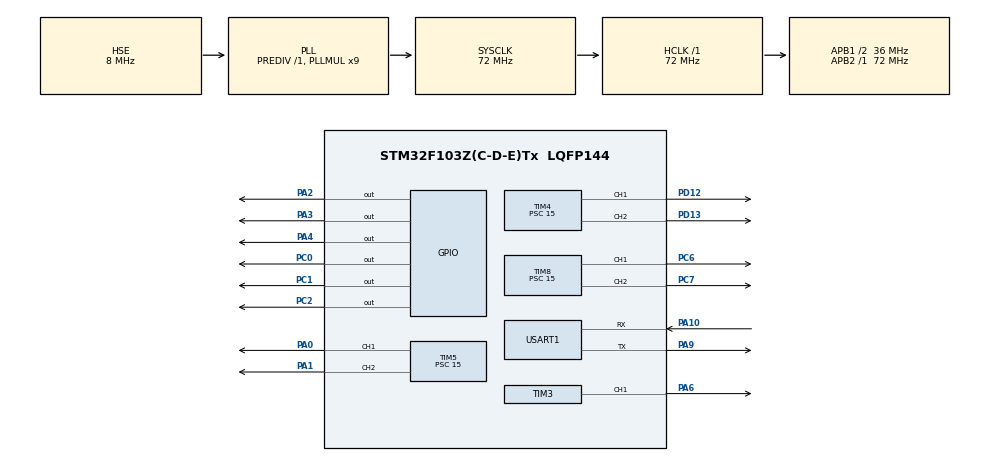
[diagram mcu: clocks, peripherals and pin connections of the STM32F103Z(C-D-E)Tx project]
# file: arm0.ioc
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Mcu.Family=STM32F1
VP_TIM5_VS_ClockSourceINT.Mode=Internal
SH.S_TIM5_CH2.0=TIM5_CH2,Output Compare2 CH2
PA6.GPIO_Label=steering\u2014\u2014gear
RCC.SYSCLKSource=RCC_SYSCLKSOURCE_PLLCLK
ProjectManager.StackSize=0x400
PD13.Signal=S_TIM4_CH2
NVIC.TIM5_IRQn=true\:0\:0\:false\:false\:true\:true\:true
RCC.HCLKFreq_Value=72000000
RCC.APB2TimFreq_Value=72000000
TIM3.Period=200
PC7.Signal=S_TIM8_CH2
OSC_OUT.Mode=HSE-External-Oscillator
OSC_OUT.Signal=RCC_OSC_OUT
RCC.AHBFreq_Value=72000000
TIM3.Channel-PWM\ Generation1\ CH1=TIM_CHANNEL_1
RCC.PLLMUL=RCC_PLL_MUL9
PA14.Mode=Serial_Wire
TIM5.Channel-Output\ Compare1\ CH1=TIM_CHANNEL_1
TIM3.Prescaler=7100
SH.S_TIM4_CH2.0=TIM4_CH2,Output Compare2 CH2
TIM4.Channel-Output\ Compare1\ CH1=TIM_CHANNEL_1
SH.S_TIM3_CH1.0=TIM3_CH1,PWM Generation1 CH1
Mcu.Package=LQFP144
PA6.Signal=S_TIM3_CH1
TIM8.OCMode_2=TIM_OCMODE_TOGGLE
TIM5.OCMode_2=TIM_OCMODE_TOGGLE
TIM5.OCMode_1=TIM_OCMODE_TOGGLE
PD12.Signal=S_TIM4_CH1
TIM8.OCMode_1=TIM_OCMODE_TOGGLE
PA10.Signal=USART1_RX
TIM4.Channel-Output\ Compare2\ CH2=TIM_CHANNEL_2
TIM8.Prescaler=15
SH.S_TIM4_CH1.0=TIM4_CH1,Output Compare1 CH1
RCC.APB1TimFreq_Value=72000000
SH.S_TIM5_CH1.0=TIM5_CH1,Output Compare1 CH1
NVIC.USART1_IRQn=true\:0\:0\:false\:false\:true\:true\:true
VP_TIM3_VS_ClockSourceINT.Mode=Internal
PA3.Signal=GPIO_Output
RCC.PLLSourceVirtual=RCC_PLLSOURCE_HSE
TIM5.Channel-Output\ Compare2\ CH2=TIM_CHANNEL_2
TIM4.Pulse-Output\ Compare2\ CH2=700
PA10.Mode=Asynchronous
PC2.Signal=GPIO_Output
PC6.Signal=S_TIM8_CH1
PC0.Signal=GPIO_Output
RCC.APB1CLKDivider=RCC_HCLK_DIV2
SH.S_TIM8_CH2.0=TIM8_CH2,Output Compare2 CH2
PA0-WKUP.Signal=S_TIM5_CH1
TIM8.Pulse-Output\ Compare1\ CH1=600
PA13.Signal=SYS_JTMS-SWDIO
PA9.Mode=Asynchronous
NVIC.TIM8_CC_IRQn=true\:0\:0\:false\:false\:true\:true\:true
ProjectManager.TargetToolchain=MDK-ARM V5
PA9.Signal=USART1_TX
VP_TIM8_VS_ClockSourceINT.Mode=Internal
TIM8.Channel-Output\ Compare1\ CH1=TIM_CHANNEL_1
TIM4.OCMode_2=TIM_OCMODE_TOGGLE
OSC_IN.Signal=RCC_OSC_IN
RCC.USBFreq_Value=72000000
TIM4.Prescaler=15
TIM4.OCMode_1=TIM_OCMODE_TOGGLE
PA1.Signal=S_TIM5_CH2
SH.S_TIM8_CH1.0=TIM8_CH1,Output Compare1 CH1
board=custom
TIM4.Pulse-Output\ Compare1\ CH1=700
NVIC.TIM3_IRQn=true\:0\:0\:false\:false\:true\:true\:true
RCC.APB2Freq_Value=72000000
TIM8.Channel-Output\ Compare2\ CH2=TIM_CHANNEL_2
PA13.Mode=Serial_Wire
Mcu.Name=STM32F103Z(C-D-E)Tx
PA2.Signal=GPIO_Output
TIM8.Pulse-Output\ Compare2\ CH2=600
PA4.Signal=GPIO_Output
RCC.SYSCLKFreq_VALUE=72000000
TIM5.Prescaler=15
OSC_IN.Mode=HSE-External-Oscillator
USART1.VirtualMode=VM_ASYNC
PA14.Signal=SYS_JTCK-SWCLK
ProjectManager.HeapSize=0x200
VP_TIM4_VS_ClockSourceINT.Mode=Internal
NVIC.PriorityGroup=NVIC_PRIORITYGROUP_4
NVIC.TIM4_IRQn=true\:0\:0\:false\:false\:true\:true\:true
RCC.APB1Freq_Value=36000000
PC1.Signal=GPIO_Output
TIM5.Pulse-Output\ Compare2\ CH2=600

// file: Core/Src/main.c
/* USER CODE BEGIN Header */
/**
  ******************************************************************************
  * @file           : main.c
  * @brief          : Main program body
  ******************************************************************************
  * @attention
  *
  * <h2><center>&copy; Copyright (c) 2020 STMicroelectronics.
  * All rights reserved.</center></h2>
  *
  * This software component is licensed by ST under BSD 3-Clause license,
  * the "License"; You may not use this file except in compliance with the
  * License. You may obtain a copy of the License at:
  *                        opensource.org/licenses/BSD-3-Clause
  *
  ******************************************************************************
  */
/* USER CODE END Header */
#include "main.h"
#include "tim.h"
#include "usart.h"
#include "gpio.h"

/* USER CODE BEGIN Includes */
#include "motor.h"
#include "robot.h"
/* USER CODE END Includes */

/* USER CODE BEGIN PV */
extern int  stop_flag1;
float fre[ACCELERATED_SPEED_LENGTH1]; //数组存储加速过程中每一步的频率
unsigned short period[ACCELERATED_SPEED_LENGTH1]; //数组储存加速过程中每一步定时器的自动装载值

float fre2[ACCELERATED_SPEED_LENGTH2]; //数组存储加速过程中每一步的频率
unsigned short period2[ACCELERATED_SPEED_LENGTH2]; //数组储存加速过程中每一步定时器的自动装载值

/* USER CODE END PV */

void SystemClock_Config(void);

/* USER CODE BEGIN 0 */
	void steering_gear(TIM_HandleTypeDef htimx,int TIM_CHANNEL,int y);//舵机
	void robot_arm(float x,float y);//解算
	void motor_result(float x,float y);//计算得出相对坐标
	void motor_reset();//复位程序
	void CalculateSModelLine(float fre_[], unsigned short period_[], float len, float fre_max, float fre_min, float flexible);
/* USER CODE END 0 */

int main(void)
{

  /* MCU Configuration--------------------------------------------------------*/

  /* Reset of all peripherals, Initializes the Flash interface and the Systick. */
  HAL_Init();

  /* Configure the system clock */
  SystemClock_Config();

  /* Initialize all configured peripherals */
  MX_GPIO_Init();
  MX_TIM4_Init();
  MX_TIM5_Init();
  MX_TIM8_Init();
  MX_TIM3_Init();
  MX_USART1_UART_Init();
  /* USER CODE BEGIN 2 */
	//EN2使能

	steering_gear(htim3,TIM_CHANNEL_1,10);
	HAL_Delay(1000);
	HAL_GPIO_WritePin(GPIOA,GPIO_PIN_2,GPIO_PIN_RESET);
	motor_result(120,60);
	CalculateSModelLine(fre,period,ACCELERATED_SPEED_LENGTH1,FRE_MAX,FRE_MIN,4);
	CalculateSModelLine(fre2,period2,ACCELERATED_SPEED_LENGTH2,FRE_MAX,FRE_MIN,4);
	//CalculateSModelLine(fre,period,ACCELERATED_SPEED_LENGTH,FRE_MAX,FRE_MIN,4);
  HAL_TIM_Base_Start(&htim8);//启动定时器
	HAL_TIM_Base_Start(&htim5);//启动定时器
	HAL_TIM_OC_Start_IT(&htim8, TIM_CHANNEL_1);//启动定时器8通道1比较输出中断
	HAL_TIM_OC_Start_IT(&htim5, TIM_CHANNEL_2);//启动定时器8通道2比较输出中断
	HAL_Delay(3000);
	steering_gear(htim3,TIM_CHANNEL_1,25);
	HAL_Delay(100);
	if(stop_flag1==1)
	{
		motor_result(100,100);
		CalculateSModelLine(fre,period,ACCELERATED_SPEED_LENGTH1,FRE_MAX,FRE_MIN,4);
		CalculateSModelLine(fre2,period2,ACCELERATED_SPEED_LENGTH2,FRE_MAX,FRE_MIN,4);
		//CalculateSModelLine(fre,period,ACCELERATED_SPEED_LENGTH,FRE_MAX,FRE_MIN,4);
		HAL_TIM_Base_Start(&htim8);//启动定时器
		HAL_TIM_Base_Start(&htim5);//启动定时器
		HAL_TIM_OC_Start_IT(&htim8, TIM_CHANNEL_1);//启动定时器8通道1比较输出中断
		HAL_TIM_OC_Start_IT(&htim5, TIM_CHANNEL_2);//启动定时器8通道2比较输出中断
		HAL_Delay(1000);
	}
	HAL_Delay(800);
		steering_gear(htim3,TIM_CHANNEL_1,15);

		HAL_Delay(1000);
	if(stop_flag1==1)
	{

		motor_result(30,10);
		CalculateSModelLine(fre,period,ACCELERATED_SPEED_LENGTH1,FRE_MAX,FRE_MIN,4);
		CalculateSModelLine(fre2,period2,ACCELERATED_SPEED_LENGTH2,FRE_MAX,FRE_MIN,4);
		HAL_TIM_Base_Start(&htim8);//启动定时器
		HAL_GPIO_WritePin(GPIOA,GPIO_PIN_2,GPIO_PIN_SET);
//		HAL_TIM_Base_Start(&htim5);//启动定时器
		HAL_TIM_OC_Start_IT(&htim8, TIM_CHANNEL_1);//启动定时器8通道1比较输出中断
//		HAL_TIM_OC_Start_IT(&htim5, TIM_CHANNEL_2);//启动定时器8通道2比较输出中断
		HAL_Delay(1000);
	}
  /* USER CODE END 2 */

  /* Infinite loop */
  while (1)
  {

  }
}

void SystemClock_Config(void)
{
  RCC_OscInitTypeDef RCC_OscInitStruct = {0};
  RCC_ClkInitTypeDef RCC_ClkInitStruct = {0};

  /** Initializes the RCC Oscillators according to the specified parameters
  * in the RCC_OscInitTypeDef structure.
  */
  RCC_OscInitStruct.OscillatorType = RCC_OSCILLATORTYPE_HSE;
  RCC_OscInitStruct.HSEState = RCC_HSE_ON;
  RCC_OscInitStruct.HSEPredivValue = RCC_HSE_PREDIV_DIV1;
  RCC_OscInitStruct.HSIState = RCC_HSI_ON;
  RCC_OscInitStruct.PLL.PLLState = RCC_PLL_ON;
  RCC_OscInitStruct.PLL.PLLSource = RCC_PLLSOURCE_HSE;
  RCC_OscInitStruct.PLL.PLLMUL = RCC_PLL_MUL9;
  if (HAL_RCC_OscConfig(&RCC_OscInitStruct) != HAL_OK)
  {
    Error_Handler();
  }
  /** Initializes the CPU, AHB and APB buses clocks
  */
  RCC_ClkInitStruct.ClockType = RCC_CLOCKTYPE_HCLK|RCC_CLOCKTYPE_SYSCLK
                              |RCC_CLOCKTYPE_PCLK1|RCC_CLOCKTYPE_PCLK2;
  RCC_ClkInitStruct.SYSCLKSource = RCC_SYSCLKSOURCE_PLLCLK;
  RCC_ClkInitStruct.AHBCLKDivider = RCC_SYSCLK_DIV1;
  RCC_ClkInitStruct.APB1CLKDivider = RCC_HCLK_DIV2;
  RCC_ClkInitStruct.APB2CLKDivider = RCC_HCLK_DIV1;

  if (HAL_RCC_ClockConfig(&RCC_ClkInitStruct, FLASH_LATENCY_2) != HAL_OK)
  {
    Error_Handler();
  }
}

void Error_Handler(void)
{
}

/************************ (C) COPYRIGHT STMicroelectronics *****END OF FILE****/
